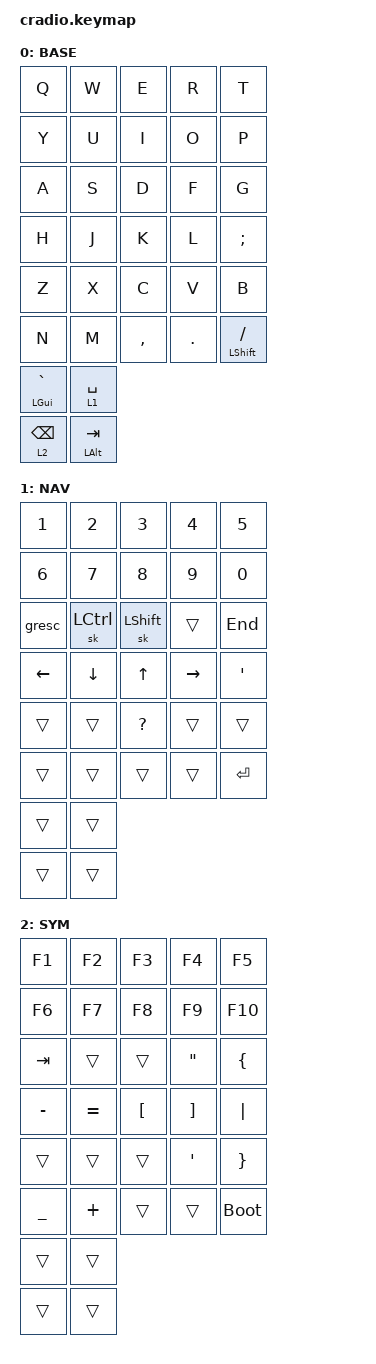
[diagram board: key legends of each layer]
/*
 * Ferris Sweep (Cradio) - ZMK keymap
 *
 * Layer 0 BASE:
 *   Q  W  E  R  T    Y  U  I  O  P
 *   A  S  D  F  G    H  J  K  L  ;
 *   Z  X  C  V  B    N  M  ,  .  SFT/SL
 *        GUI/` SPC/1    BSPC/2 ALT/TAB
 *
 * Layer 1 NAV/NUM (hold left thumb):
 *   1  2  3  4  5    6  7  8  9  0
 *  ESC OSM-CTL OSM-SFT _  END  LFT DN UP RT  '
 *   _  _  ?   _   _    _   _   _   _  ENT
 *        _   _         _   _
 *
 * Layer 2 SYM/FN (hold right thumb):
 *   F1 F2 F3 F4 F5   F6  F7 F8 F9 F10
 *  TAB _  _  "  {     -   =  [  ]  |
 *   _  _  _  '  }     _   +  _  _  BOOT
 *        _  _          _   _
 */

#include <behaviors.dtsi>
#include <dt-bindings/zmk/keys.h>

&mt {
    flavor = "tap-preferred";
    tapping-term-ms = <285>;
};

/ {
    keymap {
        compatible = "zmk,keymap";

        default_layer {
            label = "BASE";
            bindings = <
                &kp Q           &kp W        &kp E        &kp R        &kp T
                &kp Y           &kp U        &kp I        &kp O        &kp P
                &kp A           &kp S        &kp D        &kp F        &kp G
                &kp H           &kp J        &kp K        &kp L        &kp SEMICOLON
                &kp Z           &kp X        &kp C        &kp V        &kp B
                &kp N           &kp M        &kp COMMA    &kp DOT      &mt LSHIFT SLASH
                &mt LGUI GRAVE  &lt 1 SPACE
                &lt 2 BSPC      &mt LALT TAB
            >;
        };

        nav_layer {
            label = "NAV";
            bindings = <
                &kp N1   &kp N2    &kp N3     &kp N4    &kp N5
                &kp N6   &kp N7    &kp N8     &kp N9    &kp N0
                &gresc   &sk LCTRL &sk LSHIFT &trans    &kp END
                &kp LEFT &kp DOWN  &kp UP     &kp RIGHT &kp SQT
                &trans   &trans    &kp QMARK  &trans    &trans
                &trans   &trans    &trans     &trans    &kp ENTER
                &trans   &trans
                &trans   &trans
            >;
        };

        sym_layer {
            label = "SYM";
            bindings = <
                &kp F1  &kp F2  &kp F3  &kp F4   &kp F5
                &kp F6  &kp F7  &kp F8  &kp F9   &kp F10
                &kp TAB &trans  &trans  &kp DQT  &kp LBRC
                &kp MINUS &kp EQUAL &kp LBKT &kp RBKT &kp PIPE
                &trans  &trans  &trans  &kp SQT  &kp RBRC
                &kp UNDER &kp PLUS &trans &trans &bootloader
                &trans  &trans
                &trans  &trans
            >;
        };
    };
};
